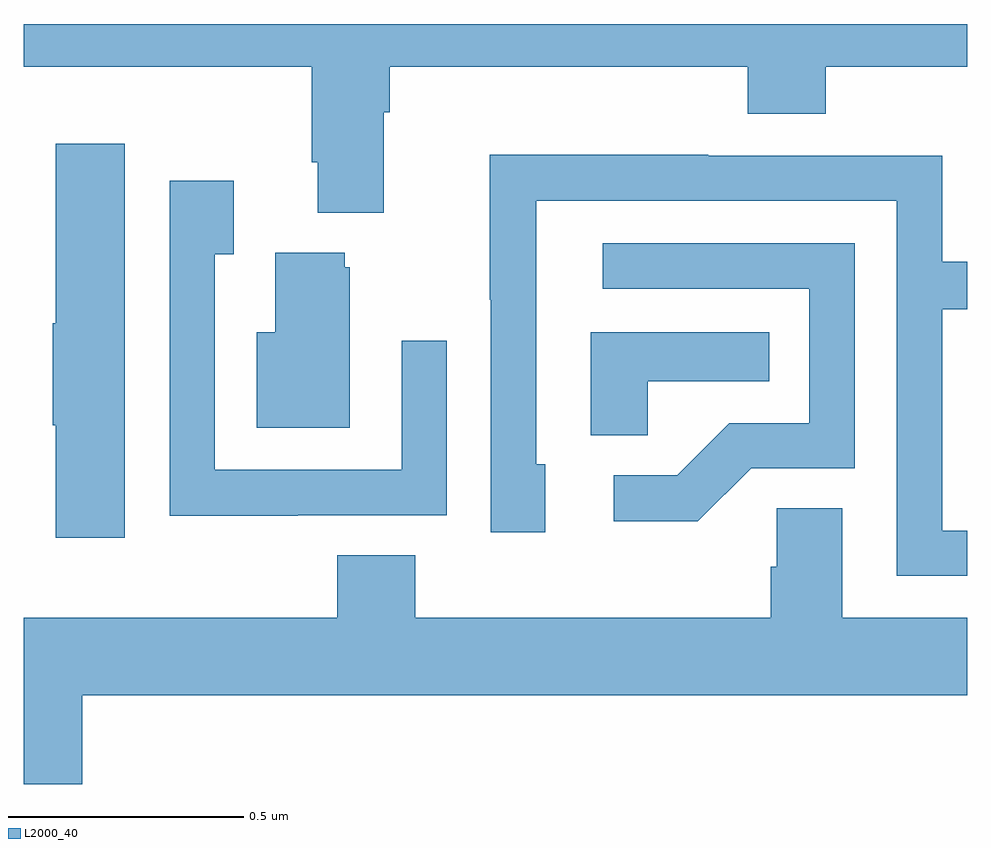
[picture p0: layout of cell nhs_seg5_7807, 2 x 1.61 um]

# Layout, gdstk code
import gdstk
lib = gdstk.Library(unit=1e-6, precision=1e-09)
def P(c, l, *ps):  # polygons
    for p in ps: c.add(gdstk.Polygon(p, *l))
L2000_40 = (2000, 40)

nhs_seg5_7807 = lib.new_cell('nhs_seg5_7807')
P(nhs_seg5_7807, L2000_40, [(213,908.708),(213.611,908.708),(213.611,908.506),(213.623,908.506),(213.623,908.399),(213.763,908.399),(213.763,908.612),(213.776,908.612),(213.776,908.708),(214.535,908.708),(214.535,908.609),(214.7,908.609),(214.7,908.708),(215,908.708),(215,908.799),(213,908.799)],
  [(213.214,908.545),(213.068,908.545),(213.068,908.165),(213.061,908.165),(213.061,907.948),(213.068,907.948),(213.068,907.71),(213.214,907.71)],
  [(215,907.725),(214.947,907.725),(214.947,908.194),(215,908.194),(215,908.295),(214.947,908.295),(214.947,908.52),(214.451,908.52),(214.451,908.522),(213.988,908.522),(213.988,908.215),(213.99,908.215),(213.99,907.722),(214.105,907.722),(214.105,907.866),(214.086,907.866),(214.086,908.424),(214.851,908.424),(214.851,907.629),(215,907.629)],
  [(213.581,907.758),(213.897,907.758),(213.897,908.128),(213.801,908.128),(213.801,907.854),(213.405,907.854),(213.405,908.311),(213.445,908.311),(213.445,908.467),(213.309,908.467),(213.309,907.757),(213.581,907.757)],
  [(214.542,907.857),(214.761,907.857),(214.761,908.334),(214.227,908.334),(214.227,908.238),(214.665,908.238),(214.665,907.953),(214.496,907.953),(214.385,907.842),(214.251,907.842),(214.251,907.745),(214.429,907.745)],
  [(213.691,908.283),(213.68,908.283),(213.68,908.314),(213.533,908.314),(213.533,908.146),(213.494,908.146),(213.494,907.943),(213.691,907.943)],
  [(214.323,908.042),(214.58,908.042),(214.58,908.146),(214.202,908.146),(214.202,907.927),(214.323,907.927)],
  [(213.124,907.376),(215,907.376),(215,907.54),(214.735,907.54),(214.735,907.772),(214.596,907.772),(214.596,907.649),(214.583,907.649),(214.583,907.54),(213.83,907.54),(213.83,907.673),(213.665,907.673),(213.665,907.54),(213,907.54),(213,907.188),(213.124,907.188)])

lib.write_gds('nhs_seg5_7807.gds')
